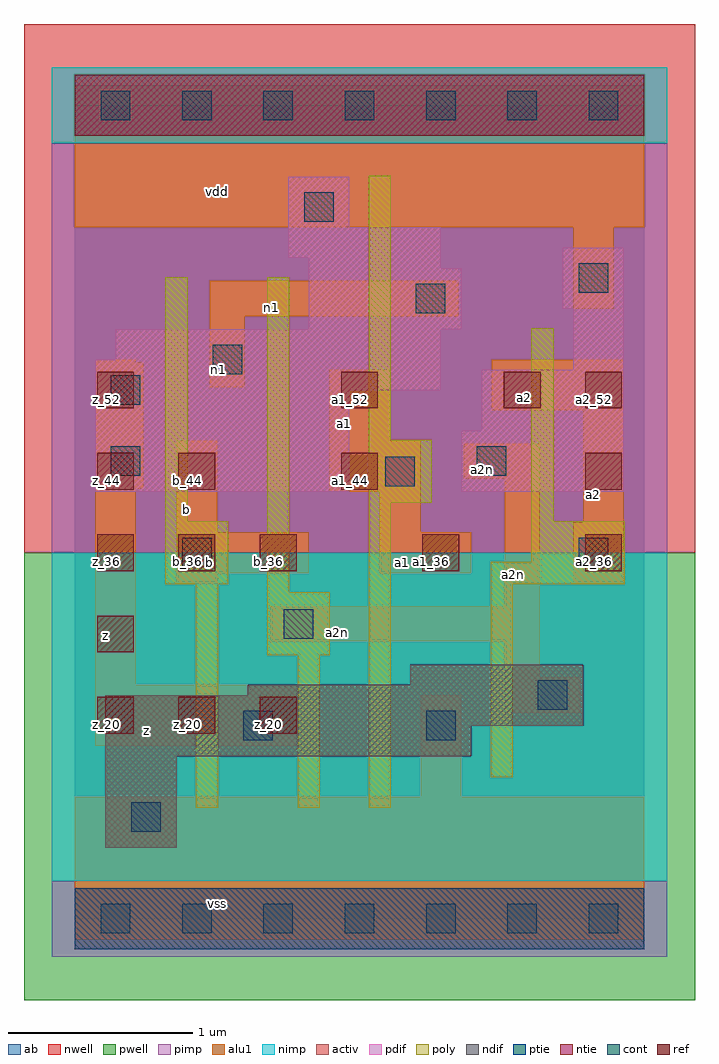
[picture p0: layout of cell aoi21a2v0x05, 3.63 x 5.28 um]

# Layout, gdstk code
import gdstk
lib = gdstk.Library(unit=1e-6, precision=2.5e-09)
def R(c, l, rs):  # rectangles x0, y0, x1, y1
    for r in rs: c.add(gdstk.rectangle(r[:2], r[2:], *l))
def A(c, l, x, y, w, h, nx, ny, dx, dy):  # array of equal rectangles
    R(c, l, [(x+i*dx, y+j*dy, x+i*dx+w, y+j*dy+h) for i in range(nx) for j in range(ny)])
ndif = (3, 0)
pdif = (4, 0)
ntie = (5, 0)
ptie = (6, 0)
ref = (24, 0)
cont = (25, 0)
pwell = (41, 0)
nwell = (42, 0)
activ = (43, 0)
pimp = (44, 0)
nimp = (45, 0)
poly = (46, 0)
alu1 = (49, 0)
ab = (63, 0)

aoi21a2v0x05 = lib.new_cell('aoi21a2v0x05')
R(aoi21a2v0x05, ndif, [(0.165,0.385,0.55,0.88), (0.165,0.88,2.145,1.045), (0.165,1.045,2.75,1.21), (0.935,1.21,2.75,1.265), (1.815,1.265,2.75,1.375)])
R(aoi21a2v0x05, pdif, [(0.11,2.31,1.485,2.86), (2.09,2.31,2.97,2.64), (2.2,2.64,2.97,2.97), (0.11,2.86,1.98,3.025), (2.695,2.97,2.97,3.3), (0.22,3.025,1.98,3.19), (1.265,3.19,2.09,3.52), (2.64,3.3,2.97,3.63), (1.265,3.52,1.98,3.575), (1.155,3.575,1.98,3.74), (1.155,3.74,1.485,4.015)])
R(aoi21a2v0x05, ntie, [(0,4.235,3.08,4.565)])
R(aoi21a2v0x05, ptie, [(0,-0.165,3.08,0.165)])
A(aoi21a2v0x05, ref, 0.12, 1, 0.2, 0.2, 3, 2, 0.44, 0.88)
A(aoi21a2v0x05, ref, 2.76, 1.88, 0.2, 0.2, 1, 3, 0, 0.44)
R(aoi21a2v0x05, ref, [(0.12,1.44,0.32,1.64), (1.88,1.88,2.08,2.08), (0.12,2.32,0.32,2.52), (0.56,2.32,0.76,2.52), (1.44,2.32,1.64,2.52), (0.12,2.76,0.32,2.96), (1.44,2.76,1.64,2.96), (2.32,2.76,2.52,2.96)])
A(aoi21a2v0x05, cont, 0.14, -0.08, 0.16, 0.16, 7, 2, 0.44, 4.4)
R(aoi21a2v0x05, cont, [(0.305,0.47,0.465,0.63), (0.91,0.965,1.07,1.125), (1.9,0.965,2.06,1.125), (2.505,1.13,2.665,1.29), (1.13,1.515,1.29,1.675), (0.58,1.9,0.74,2.06), (2.725,1.9,2.885,2.06), (1.68,2.34,1.84,2.5), (0.195,2.395,0.355,2.555), (2.175,2.395,2.335,2.555), (0.195,2.78,0.355,2.94), (0.745,2.945,0.905,3.105), (1.845,3.275,2.005,3.435), (2.725,3.385,2.885,3.545), (1.24,3.77,1.4,3.93)])
R(aoi21a2v0x05, pwell, [(-0.275,-0.44,3.355,1.98)])
R(aoi21a2v0x05, nwell, [(-0.275,1.98,3.355,4.84)])
R(aoi21a2v0x05, activ, [(0,-0.165,3.08,0.165), (0.165,0.385,0.55,0.88), (0.165,0.88,2.145,1.045), (0.165,1.045,2.75,1.21), (0.935,1.21,2.75,1.265), (1.815,1.265,2.75,1.375), (0.11,2.31,1.485,2.86), (2.09,2.31,2.97,2.64), (2.2,2.64,2.97,2.97), (0.11,2.86,1.98,3.025), (2.695,2.97,2.97,3.3), (0.22,3.025,1.98,3.19), (1.265,3.19,2.09,3.52), (2.64,3.3,2.97,3.63), (1.265,3.52,1.98,3.575), (1.155,3.575,1.98,3.74), (1.155,3.74,1.485,4.015), (0,4.235,3.08,4.565)])
R(aoi21a2v0x05, pimp, [(-0.125,-0.205,3.205,0.205), (-0.125,1.98,3.205,4.195)])
R(aoi21a2v0x05, nimp, [(-0.125,0.205,3.205,1.98), (-0.125,4.195,3.205,4.605)])
R(aoi21a2v0x05, poly, [(0.655,0.6,0.775,1.81), (1.205,0.6,1.325,1.425), (1.59,0.6,1.71,2.25), (2.25,0.765,2.37,1.81), (1.04,1.425,1.38,1.765), (1.04,1.765,1.16,3.47), (0.49,1.81,0.83,2.15), (2.25,1.81,2.975,1.93), (2.47,1.93,2.975,2.15), (0.49,2.15,0.61,3.47), (2.47,2.15,2.59,3.195), (1.59,2.25,1.93,2.59), (1.59,2.59,1.71,4.02)])
R(aoi21a2v0x05, alu1, [(0,-0.11,3.08,0.66), (1.87,0.66,2.09,1.21), (0.11,0.935,1.21,1.265), (2.325,1.115,2.735,1.305), (0.11,1.265,0.33,2.325), (2.325,1.305,2.515,1.5), (1.06,1.5,2.515,1.69), (2.325,1.69,2.515,2.38), (0.55,1.815,0.77,1.87), (2.695,1.815,2.97,2.145), (0.55,1.87,1.265,2.09), (1.65,1.87,2.145,2.09), (0.55,2.09,0.77,2.585), (1.65,2.09,1.87,2.31), (2.75,2.145,2.97,2.75), (1.375,2.31,1.87,2.585), (0.11,2.325,0.37,3.01), (2.105,2.38,2.515,2.57), (1.375,2.585,1.705,2.97), (2.255,2.75,2.97,3.025), (0.73,2.875,0.92,3.26), (0.11,3.01,0.33,3.025), (0.73,3.26,2.075,3.45), (2.695,3.3,2.915,3.74), (0,3.74,3.08,4.51)])
R(aoi21a2v0x05, ab, [(0,0,3.08,4.4)])
aoi21a2v0x05.add(gdstk.Label('vss', (0.77,0.0825), layer=49, texttype=0))
aoi21a2v0x05.add(gdstk.Label('z', (0.385,1.0175), layer=49, texttype=0))
aoi21a2v0x05.add(gdstk.Label('a2n', (1.4225,1.5475), layer=49, texttype=0))
aoi21a2v0x05.add(gdstk.Label('a2', (2.805,2.295), layer=49, texttype=0))
aoi21a2v0x05.add(gdstk.Label('a2n', (2.3725,1.8625), layer=49, texttype=0))
aoi21a2v0x05.add(gdstk.Label('a1', (1.7725,1.925), layer=49, texttype=0))
aoi21a2v0x05.add(gdstk.Label('b', (0.7275,1.925), layer=49, texttype=0))
aoi21a2v0x05.add(gdstk.Label('a2n', (2.2075,2.4275), layer=49, texttype=0))
aoi21a2v0x05.add(gdstk.Label('b', (0.605,2.2125), layer=49, texttype=0))
aoi21a2v0x05.add(gdstk.Label('z', (0.165,1.53), layer=49, texttype=0))
aoi21a2v0x05.add(gdstk.Label('a2', (2.4325,2.8175), layer=49, texttype=0))
aoi21a2v0x05.add(gdstk.Label('a1', (1.4575,2.68), layer=49, texttype=0))
aoi21a2v0x05.add(gdstk.Label('n1', (0.7775,2.97), layer=49, texttype=0))
aoi21a2v0x05.add(gdstk.Label('n1', (1.065,3.3075), layer=49, texttype=0))
aoi21a2v0x05.add(gdstk.Label('vdd', (0.77,3.9325), layer=49, texttype=0))
aoi21a2v0x05.add(gdstk.Label('a1_36', (1.93,1.93), layer=24, texttype=0))
aoi21a2v0x05.add(gdstk.Label('a2_36', (2.81,1.93), layer=24, texttype=0))
aoi21a2v0x05.add(gdstk.Label('a2_44', (2.81,2.37), layer=24, texttype=0))
aoi21a2v0x05.add(gdstk.Label('a2_52', (2.81,2.81), layer=24, texttype=0))
aoi21a2v0x05.add(gdstk.Label('a2_52', (2.37,2.81), layer=24, texttype=0))
aoi21a2v0x05.add(gdstk.Label('a1_44', (1.49,2.37), layer=24, texttype=0))
aoi21a2v0x05.add(gdstk.Label('b_36', (0.61,1.93), layer=24, texttype=0))
aoi21a2v0x05.add(gdstk.Label('b_36', (1.05,1.93), layer=24, texttype=0))
aoi21a2v0x05.add(gdstk.Label('b_44', (0.61,2.37), layer=24, texttype=0))
aoi21a2v0x05.add(gdstk.Label('z_52', (0.17,2.81), layer=24, texttype=0))
aoi21a2v0x05.add(gdstk.Label('z_44', (0.17,2.37), layer=24, texttype=0))
aoi21a2v0x05.add(gdstk.Label('z_36', (0.17,1.93), layer=24, texttype=0))
aoi21a2v0x05.add(gdstk.Label('z_28', (0.17,1.49), layer=24, texttype=0))
aoi21a2v0x05.add(gdstk.Label('z_20', (0.17,1.05), layer=24, texttype=0))
aoi21a2v0x05.add(gdstk.Label('a1_52', (1.49,2.81), layer=24, texttype=0))
aoi21a2v0x05.add(gdstk.Label('z_20', (1.05,1.05), layer=24, texttype=0))
aoi21a2v0x05.add(gdstk.Label('z_20', (0.61,1.05), layer=24, texttype=0))

lib.write_gds('aoi21a2v0x05.gds')
